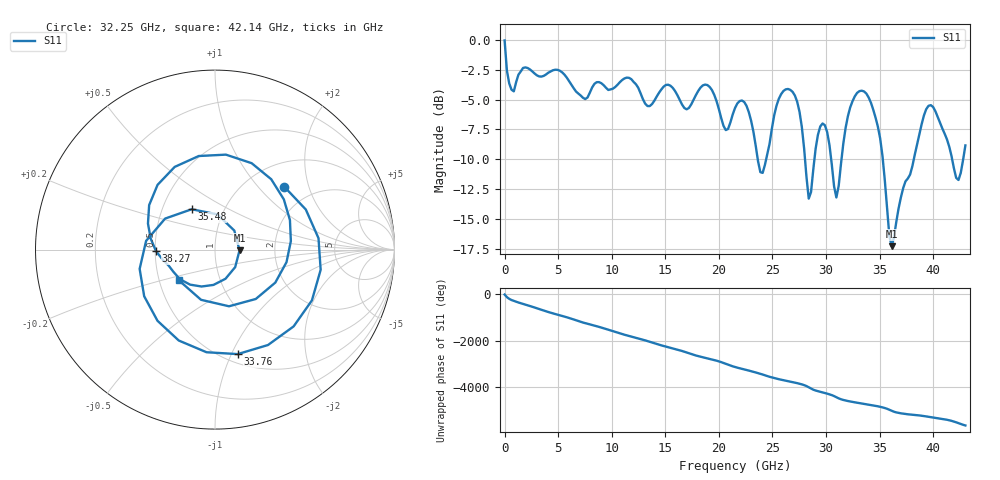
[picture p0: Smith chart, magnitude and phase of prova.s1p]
! Rohde & Schwarz Vector Network Analyzer
! Rohde-Schwarz,ZNA43-4Port,1332450044102361,3.10
! Port Assignments:
! Nominal Port -> Actual Test Port
!  1 -> 1
! Created: GMT 2026-06-01 14:58:13
# Hz S RI R 50
! freq[Hz]  S11[Re]  S11[Im]
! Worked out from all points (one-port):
!   201 points, 10 MHz to 43 GHz, reference 50 ohm
!   lowest |S11| = -17.3 dB at 36.12 GHz (marker M1), VSWR 1.32, Z = 65.8 - j0.528 ohm
!   |S11| at or under -10 dB: 30.48 GHz to 31.44 GHz (965.1 MHz wide, 3.12 % of centre); 35.29 GHz to 38.19 GHz (2.895 GHz wide, 7.88 % of centre); 41.76 GHz to 42.79 GHz (1.029 GHz wide, 2.43 % of centre)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
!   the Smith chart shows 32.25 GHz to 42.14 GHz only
!   S11 on the Smith chart (normalised r, x): 32.25 GHz: 1.45, +1.40; 33.76 GHz: 0.59, -1.06; 35.48 GHz: 0.70, +0.34; 38.27 GHz: 0.50, -0.01; 42.14 GHz: 0.63, -0.23
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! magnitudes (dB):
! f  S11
! 10 MHz  -0.1
! 869.8 MHz  -4.3
! 1.73 GHz  -2.4
! 5.384 GHz  -2.7
! 7.533 GHz  -5.0
! 10.76 GHz  -3.6
! 16.13 GHz  -4.6
! 18.93 GHz  -3.8
! 20.65 GHz  -7.6
! 21.5 GHz  -5.7
! 22.58 GHz  -5.5
! 24.08 GHz  -11.1
! 25.59 GHz  -4.9
! 26.88 GHz  -4.4
! 27.74 GHz  -7.3
! 28.38 GHz  -13.3
! 29.67 GHz  -7.0
! 30.96 GHz  -13.2
! 32.25 GHz  -5.7
! 33.76 GHz  -4.5
! 34.83 GHz  -7.3
! 35.48 GHz  -11.7
! 36.12 GHz  -17.3
! 37.63 GHz  -11.6
! 38.27 GHz  -9.6
! 39.78 GHz  -5.5
! 42.14 GHz  -11.6
! 43 GHz  -8.8
